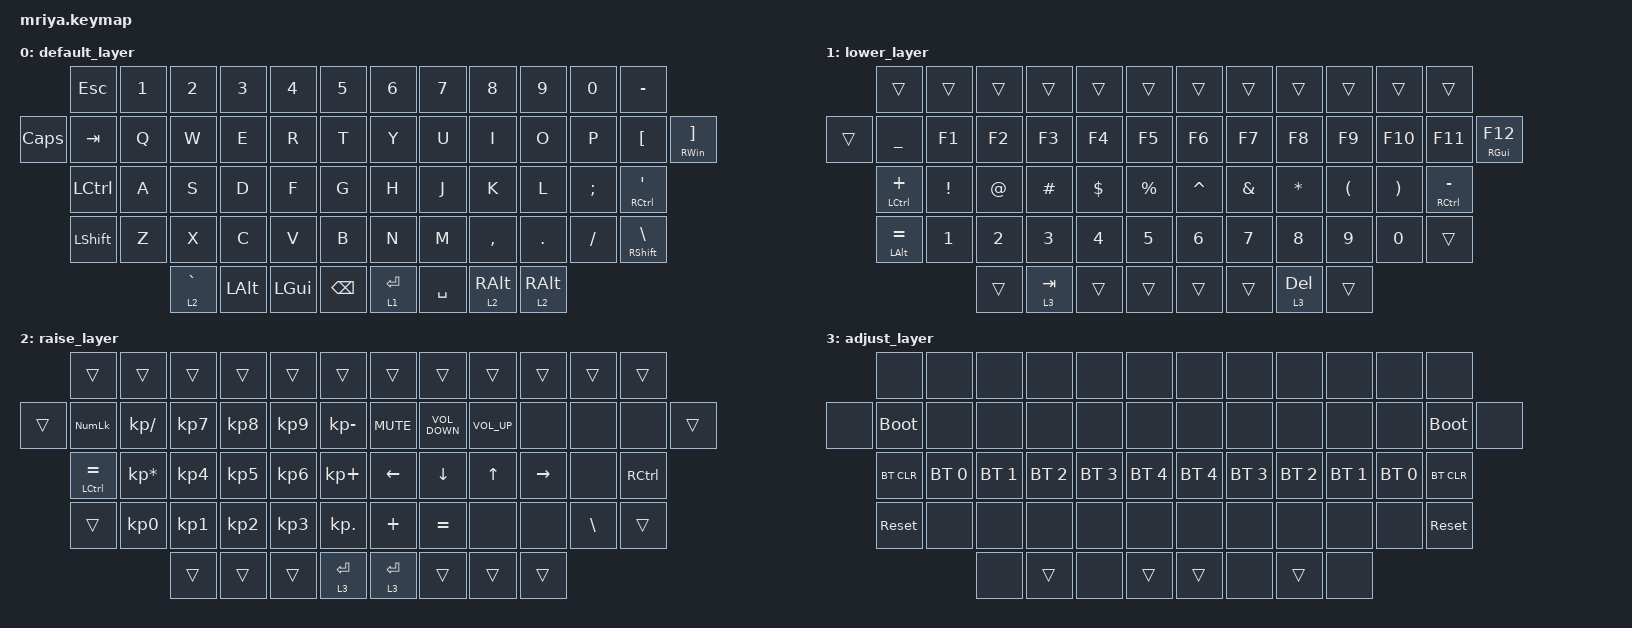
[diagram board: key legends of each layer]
/*
 * Copyright (c) 2023 Andrei Gaevskii
 *
 * SPDX-License-Identifier: MIT
 */

#include <behaviors.dtsi>
#include <dt-bindings/zmk/bt.h>
#include <dt-bindings/zmk/keys.h>

#define DEF 0
#define LWR 1
#define RSE 2
#define ADJ 3

&lt { quick_tap_ms = <200>; };

&mt { quick_tap_ms = <200>; };

/ {
    keymap {
        compatible = "zmk,keymap";

        default_layer {
            bindings = <
              &kp ESC         &kp N1  &kp N2       &kp N3        &kp N4    &kp N5           &kp N6       &kp N7     &kp N8           &kp N9           &kp N0    &kp MINUS
&kp CAPSLOCK  &kp TAB         &kp Q   &kp W        &kp E         &kp R     &kp T            &kp Y        &kp U      &kp I            &kp O            &kp P     &kp LBKT                   &mt RWIN RBKT
              &kp LCTRL       &kp A   &kp S        &kp D         &kp F     &kp G            &kp H        &kp J      &kp K            &kp L            &kp SEMI  &mt RCTRL SQT
              &kp LEFT_SHIFT  &kp Z   &kp X        &kp C         &kp V     &kp B            &kp N        &kp M      &kp COMMA        &kp DOT          &kp FSLH  &mt RIGHT_SHIFT BACKSLASH
                                      &lt 2 GRAVE  &kp LEFT_ALT  &kp LGUI  &kp BACKSPACE    &lt 1 ENTER  &kp SPACE  &lt 2 RIGHT_ALT  &lt 2 RIGHT_ALT
            >;
        };

        lower_layer {
            bindings = <
        &trans          &trans    &trans  &trans     &trans    &trans       &trans     &trans    &trans     &trans    &trans    &trans
&trans  &kp UNDER       &kp F1    &kp F2  &kp F3     &kp F4    &kp F5       &kp F6     &kp F7    &kp F8     &kp F9    &kp F10   &kp F11          &mt RGUI F12
        &mt LCTRL PLUS  &kp EXCL  &kp AT  &kp HASH   &kp DLLR  &kp PRCNT    &kp CARET  &kp AMPS  &kp STAR   &kp LPAR  &kp RPAR  &mt RCTRL MINUS
        &mt LALT EQUAL  &kp N1    &kp N2  &kp N3     &kp N4    &kp N5       &kp N6     &kp N7    &kp N8     &kp N9    &kp N0    &trans
                                  &trans  &lt 3 TAB  &trans    &trans       &trans     &trans    &lt 3 DEL  &trans
            >;
        };

        raise_layer {
            bindings = <
        &trans           &trans           &trans     &trans     &trans     &trans          &trans       &trans             &trans        &trans     &trans         &trans
&trans  &kp KP_NUM       &kp KP_SLASH     &kp KP_N7  &kp KP_N8  &kp KP_N9  &kp KP_MINUS    &kp K_MUTE   &kp C_VOLUME_DOWN  &kp C_VOL_UP  &none      &none          &none              &trans
        &mt LCTRL EQUAL  &kp KP_MULTIPLY  &kp KP_N4  &kp KP_N5  &kp KP_N6  &kp KP_PLUS     &kp LEFT     &kp DOWN_ARROW     &kp UP        &kp RIGHT  &none          &kp RIGHT_CONTROL
        &trans           &kp KP_N0        &kp KP_N1  &kp KP_N2  &kp KP_N3  &kp KP_DOT      &kp PLUS     &kp EQUAL          &none         &none      &kp BACKSLASH  &trans
                                          &trans     &trans     &trans     &lt 3 RET       &lt 3 ENTER  &trans             &trans        &trans
            >;
        };

        adjust_layer {
            bindings = <
       &none        &none         &none         &none         &none         &none           &none         &none         &none         &none         &none         &none
&none  &bootloader  &none         &none         &none         &none         &none           &none         &none         &none         &none         &none         &bootloader  &none
       &bt BT_CLR   &bt BT_SEL 0  &bt BT_SEL 1  &bt BT_SEL 2  &bt BT_SEL 3  &bt BT_SEL 4    &bt BT_SEL 4  &bt BT_SEL 3  &bt BT_SEL 2  &bt BT_SEL 1  &bt BT_SEL 0  &bt BT_CLR
       &sys_reset   &none         &none         &none         &none         &none           &none         &none         &none         &none         &none         &sys_reset
                                  &none         &trans        &none         &trans          &trans        &none         &trans        &none
            >;
        };
    };
};
